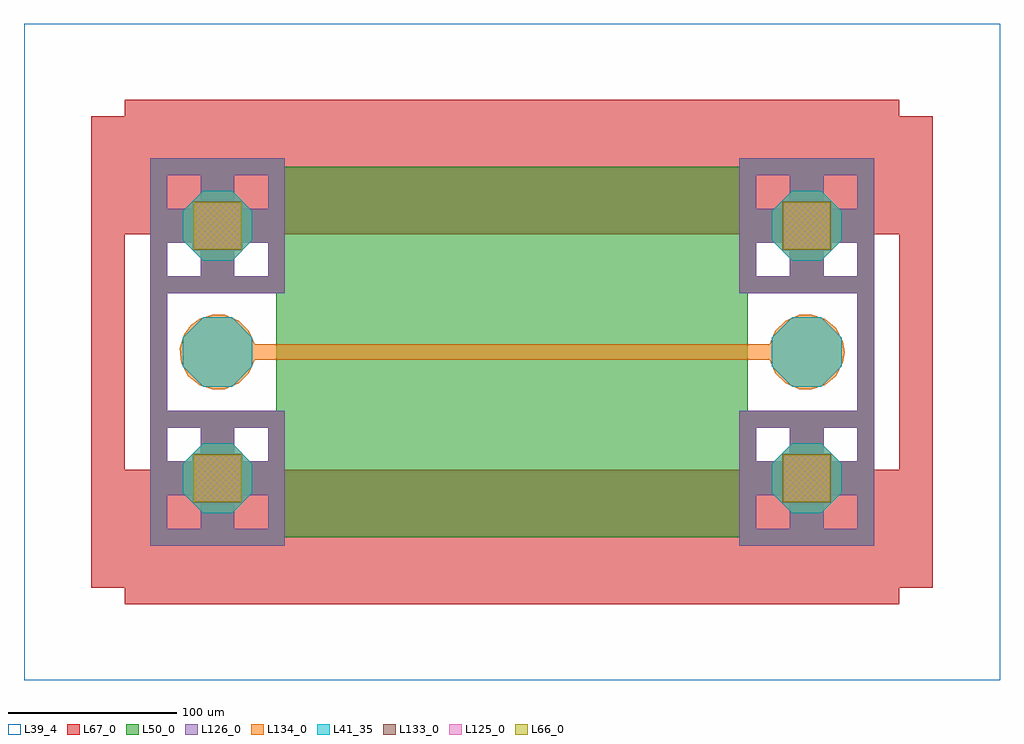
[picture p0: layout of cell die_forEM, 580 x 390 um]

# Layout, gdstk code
import gdstk
lib = gdstk.Library(unit=1e-6, precision=1e-09)
def R(c, l, rs):  # rectangles x0, y0, x1, y1
    for r in rs: c.add(gdstk.rectangle(r[:2], r[2:], *l))
def A(c, l, x, y, w, h, nx, ny, dx, dy):  # array of equal rectangles
    R(c, l, [(x+i*dx, y+j*dy, x+i*dx+w, y+j*dy+h) for i in range(nx) for j in range(ny)])
def P(c, l, *ps):  # polygons
    for p in ps: c.add(gdstk.Polygon(p, *l))
L39_4 = (39, 4)
L41_35 = (41, 35)
L50_0 = (50, 0)
L66_0 = (66, 0)
L67_0 = (67, 0)
L125_0 = (125, 0)
L126_0 = (126, 0)
L133_0 = (133, 0)
L134_0 = (134, 0)

die_forem = lib.new_cell('die_forEM')
R(die_forem, L39_4, [(-75,-85,505,305)])
P(die_forem, L41_35, [(60.787,176.39),(60.787,193.61),(48.61,205.787),(31.39,205.787),(19.213,193.61),(19.213,176.39),(31.39,164.213),(48.61,164.213)],
  [(410.927,176.39),(410.927,193.61),(398.75,205.787),(381.53,205.787),(369.353,193.61),(369.353,176.39),(381.53,164.213),(398.75,164.213)],
  [(60.787,101.39),(60.787,118.61),(48.61,130.787),(31.39,130.787),(19.213,118.61),(19.213,101.39),(31.39,89.213),(48.61,89.213)],
  [(410.927,101.39),(410.927,118.61),(398.75,130.787),(381.53,130.787),(369.353,118.61),(369.353,101.39),(381.53,89.213),(398.75,89.213)],
  [(60.787,26.39),(60.787,43.61),(48.61,55.787),(31.39,55.787),(19.213,43.61),(19.213,26.39),(31.39,14.213),(48.61,14.213)],
  [(410.927,26.39),(410.927,43.61),(398.75,55.787),(381.53,55.787),(369.353,43.61),(369.353,26.39),(381.53,14.213),(398.75,14.213)])
R(die_forem, L50_0, [(0,-5,10,225), (10,-5,25.83,5), (25.83,-5,30,5), (30,-5,50,49.17), (50,-5,54.17,5), (54.17,-5,70,5), (70,-5,80,45), (355,-5,360.14,45), (360.14,-5,375.97,5), (375.97,-5,380.14,5), (380.14,-5,400.14,49.17), (400.14,-5,404.31,5), (404.31,-5,420.14,5), (420.14,-5,430.14,225), (25.83,20.83,30,49.17), (50,20.83,54.17,49.17), (375.97,20.83,380.14,49.17), (400.14,20.83,404.31,49.17), (10,25,25.83,45), (54.17,25,70,45), (360.14,25,375.97,45), (404.31,25,420.14,45), (80,45,355,195), (355,45,360.14,75), (30,49.17,50,75), (380.14,49.17,400.14,75), (10,65,25.83,75), (25.83,65,30,75), (50,65,54.17,75), (54.17,65,70,75), (360.14,65,375.97,75), (375.97,65,380.14,75), (400.14,65,404.31,75), (404.31,65,420.14,75), (10,145,25.83,155), (25.83,145,30,155), (30,145,50,199.17), (50,145,54.17,155), (54.17,145,70,155), (355,145,360.14,195), (360.14,145,375.97,155), (375.97,145,380.14,155), (380.14,145,400.14,199.17), (400.14,145,404.31,155), (404.31,145,420.14,155), (25.83,170.83,30,199.17), (50,170.83,54.17,199.17), (375.97,170.83,380.14,199.17), (400.14,170.83,404.31,199.17), (10,175,25.83,195), (54.17,175,70,195), (360.14,175,375.97,195), (404.31,175,420.14,195), (70,195,80,225), (355,195,360.14,225), (30,199.17,50,225), (380.14,199.17,400.14,225), (10,215,25.83,225), (25.83,215,30,225), (50,215,54.17,225), (54.17,215,70,225), (360.14,215,375.97,225), (375.97,215,380.14,225), (400.14,215,404.31,225), (404.31,215,420.14,225)])
P(die_forem, L50_0, [(75,145),(75,75),(70,75),(70,45),(80,45),(80,195),(70,195),(70,145)],
  [(355,195),(355,225),(350.14,225),(350.14,220),(80,220),(80,195)],
  [(350.14,-5),(355,-5),(355,45),(80,45),(80,0),(350.14,0)])
R(die_forem, L66_0, [(25.985,20.965,54.015,49.035), (376.125,20.965,404.155,49.035), (25.985,170.965,54.015,199.035), (376.125,170.965,404.155,199.035)])
A(die_forem, L67_0, 360.14, -40, 20, 80, 3, 1, 20, 0)
R(die_forem, L67_0, [(0,-40,10,260), (30,-40,50,49.17), (50,-40,54.17,49.17), (80,-40,350.14,40), (350.14,-40,360.14,40), (420.14,-40,430.14,40), (350.14,40,360.14,75), (380.14,40,400.14,49.17), (420.14,40,430.14,260), (30,49.17,50,75), (380.14,49.17,400.14,75), (10,65,30,75), (50,65,54.17,75), (360.14,65,380.14,75), (400.14,65,420.14,75), (10,145,30,155), (30,145,50,260), (50,145,54.17,155), (350.14,145,360.14,260), (360.14,145,380.14,155), (380.14,145,400.14,260), (400.14,145,420.14,155), (50,170.83,54.17,260), (80,180,350.14,260)])
P(die_forem, L67_0, [(0,260),(-15,260),(-15,250),(-35,250),(-35,180),(0,180)],
  [(25.83,170.83),(30,170.83),(30,260),(10,260),(10,175),(25.83,175)],
  [(30,-40),(30,49.17),(25.83,49.17),(25.83,45),(10,45),(10,-40)],
  [(80,260),(54.17,260),(54.17,175),(70,175),(70,155),(54.17,155),(54.17,145),(80,145)],
  [(80,-40),(80,75),(54.17,75),(54.17,65),(70,65),(70,45),(54.17,45),(54.17,-40)],
  [(375.97,170.83),(380.14,170.83),(380.14,260),(360.14,260),(360.14,175),(375.97,175)],
  [(380.14,40),(380.14,49.17),(375.97,49.17),(375.97,45),(360.14,45),(360.14,40)],
  [(404.31,170.83),(404.31,175),(420.14,175),(420.14,260),(400.14,260),(400.14,170.83)],
  [(420.14,45),(404.31,45),(404.31,49.17),(400.14,49.17),(400.14,40),(420.14,40)],
  [(0,40),(-15,40),(-15,180),(-35,180),(-35,-30),(-15,-30),(-15,-40),(0,-40)],
  [(445,-30),(465,-30),(465,180),(445,180),(445,40),(430.14,40),(430.14,-40),(445,-40)],
  [(465,250),(445,250),(445,260),(430.14,260),(430.14,180),(465,180)])
R(die_forem, L125_0, [(25.93,20.93,54.07,49.07), (376.07,20.93,404.21,49.07), (25.93,170.93,54.07,199.07), (376.07,170.93,404.21,199.07)])
R(die_forem, L126_0, [(0,-5,80,5), (350.14,-5,430.14,5), (0,5,10,25), (70,5,80,25), (350.14,5,360.14,25), (420.14,5,430.14,25), (0,25,80,45), (350.14,25,430.14,45), (0,45,10,49.67), (25.33,45,54.67,49.67), (70,45,80,49.67), (350.14,45,360.14,49.67), (375.47,45,404.81,49.67), (420.14,45,430.14,49.67), (0,49.67,10,65), (30,49.67,50,65), (70,49.67,80,65), (350.14,49.67,360.14,65), (380.14,49.67,400.14,65), (420.14,49.67,430.14,65), (0,145,80,155), (350.14,145,430.14,155), (0,155,10,170.33), (30,155,50,170.33), (70,155,80,170.33), (350.14,155,360.14,170.33), (380.14,155,400.14,170.33), (420.14,155,430.14,170.33), (0,195,10,199.67), (25.33,195,54.67,199.67), (70,195,80,199.67), (350.14,195,360.14,199.67), (375.47,195,404.81,199.67), (420.14,195,430.14,199.67)])
P(die_forem, L126_0, [(25.33,20.33),(30,20.33),(30,5),(50,5),(50,20.33),(54.67,20.33),(54.67,25),(25.33,25)],
  [(80,75),(10,75),(10,145),(0,145),(0,65),(80,65)],
  [(70,199.67),(80,199.67),(80,225),(50,225),(50,215),(70,215)],
  [(10,215),(30,215),(30,199.67),(50,199.67),(50,225),(0,225),(0,199.67),(10,199.67)],
  [(10,175),(25.33,175),(25.33,170.33),(54.67,170.33),(54.67,195),(0,195),(0,170.33),(10,170.33)],
  [(70,170.33),(80,170.33),(80,195),(54.67,195),(54.67,175),(70,175)],
  [(375.47,20.33),(380.14,20.33),(380.14,5),(400.14,5),(400.14,20.33),(404.81,20.33),(404.81,25),(375.47,25)],
  [(430.14,145),(420.14,145),(420.14,75),(350.14,75),(350.14,65),(430.14,65)],
  [(420.14,199.67),(430.14,199.67),(430.14,225),(400.14,225),(400.14,215),(420.14,215)],
  [(360.14,215),(380.14,215),(380.14,199.67),(400.14,199.67),(400.14,225),(350.14,225),(350.14,199.67),(360.14,199.67)],
  [(360.14,175),(375.47,175),(375.47,170.33),(404.81,170.33),(404.81,195),(350.14,195),(350.14,170.33),(360.14,170.33)],
  [(420.14,170.33),(430.14,170.33),(430.14,195),(404.81,195),(404.81,175),(420.14,175)])
R(die_forem, L133_0, [(25.83,20.83,54.17,49.17), (375.97,20.83,404.31,49.17), (25.83,170.83,54.17,199.17), (375.97,170.83,404.31,199.17)])
P(die_forem, L134_0, [(410.927,176.39),(410.927,193.61),(398.75,205.787),(381.53,205.787),(369.353,193.61),(369.353,176.39),(381.53,164.213),(398.75,164.213)],
  [(60.787,176.39),(60.787,193.61),(48.61,205.787),(31.39,205.787),(19.213,193.61),(19.213,176.39),(31.39,164.213),(48.61,164.213)],
  [(60.787,26.39),(60.787,43.61),(48.61,55.787),(31.39,55.787),(19.213,43.61),(19.213,26.39),(31.39,14.213),(48.61,14.213)],
  [(410.927,26.39),(410.927,43.61),(398.75,55.787),(381.53,55.787),(369.353,43.61),(369.353,26.39),(381.53,14.213),(398.75,14.213)],
  [(392.345,87.608),(400.746,90.157),(407.533,95.726),(411.671,103.469),(412.64,110),(411.671,116.531),(407.533,124.274),(400.746,129.843),(392.345,132.392),(385.75,132.068),(377.64,128.708),(371.432,122.5),(368.15,114.7),(61.99,114.7),(58.708,122.5),(52.5,128.708),(44.39,132.068),(37.795,132.392),(29.394,129.843),(24.09,125.91),(20.157,120.606),(17.608,112.205),(18.469,103.469),(22.607,95.726),(29.394,90.157),(37.795,87.608),(44.39,87.932),(52.5,91.292),(58.708,97.5),(61.99,105.3),(368.15,105.3),(371.432,97.5),(377.64,91.292),(385.75,87.932)])

lib.write_gds('die_forEM.gds')
